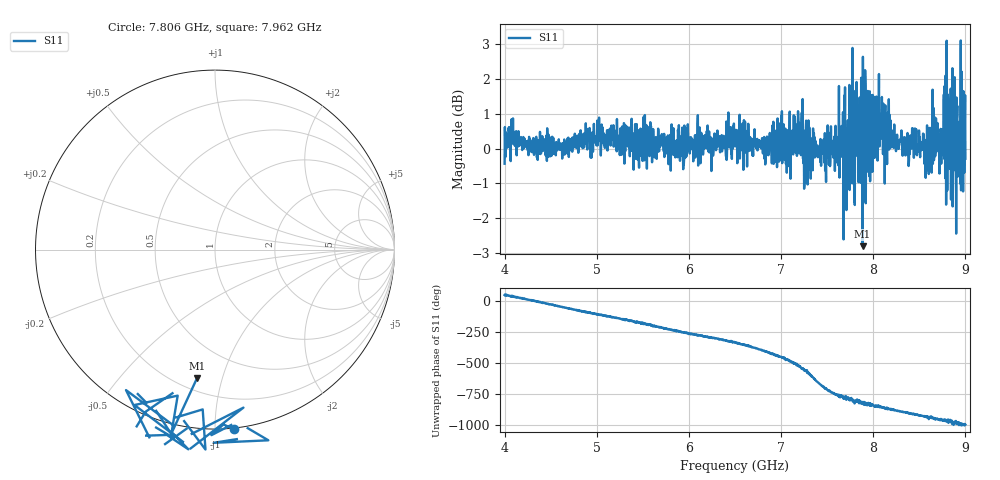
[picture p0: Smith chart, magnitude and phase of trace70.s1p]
! Created with skrf 1.8.0 (http://scikit-rf.org).
# Hz S RI R 50.0
!freq ReS11 ImS11
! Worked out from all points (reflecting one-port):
!   1601 points, 4 GHz to 9 GHz, reference 50 ohm
!   lowest |S11| = -2.8 dB at 7.884 GHz (marker M1), VSWR 6.25, Z = 13.8 - j41.6 ohm
!   phase of S11 starts at 49 deg and turns -1047 deg over the sweep
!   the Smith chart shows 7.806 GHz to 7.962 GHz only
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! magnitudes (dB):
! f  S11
! 4 GHz  -0.4
! 4.028 GHz  0.4
! 4.1 GHz  0.2
! 4.625 GHz  -0.3
! 5.25 GHz  -0.2
! 5.875 GHz  0.1
! 6.5 GHz  0.4
! 7.125 GHz  0.5
! 7.209 GHz  0.4
! 7.262 GHz  0.1
! 7.284 GHz  0.6
! 7.478 GHz  -0.6
! 7.656 GHz  0.7
! 7.669 GHz  0.2
! 7.722 GHz  0.2
! 7.75 GHz  0.0
! 7.828 GHz  0.6
! 7.884 GHz  -2.8
! 7.928 GHz  1.4
! 7.981 GHz  -0.6
! 8.097 GHz  0.3
! 8.375 GHz  0.2
! 8.738 GHz  -0.4
! 8.8 GHz  0.8
! 8.844 GHz  -1.5
! 8.919 GHz  -0.3
! 8.972 GHz  0.4
! 9 GHz  -0.3
